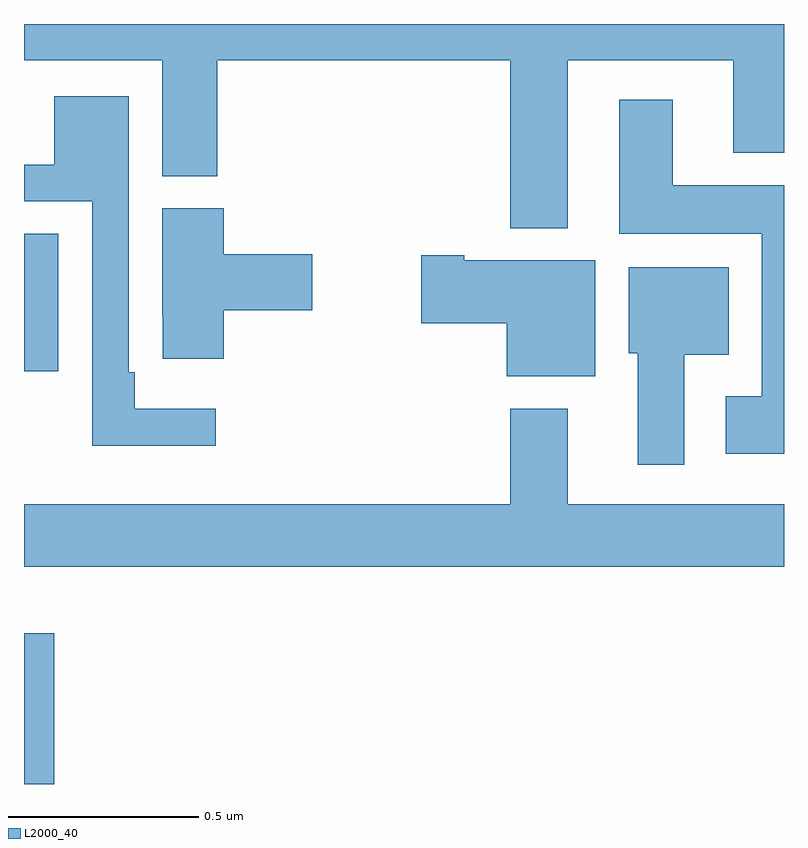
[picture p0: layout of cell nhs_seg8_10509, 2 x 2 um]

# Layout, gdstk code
import gdstk
lib = gdstk.Library(unit=1e-6, precision=1e-09)
def R(c, l, rs):  # rectangles x0, y0, x1, y1
    for r in rs: c.add(gdstk.rectangle(r[:2], r[2:], *l))
def P(c, l, *ps):  # polygons
    for p in ps: c.add(gdstk.Polygon(p, *l))
L2000_40 = (2000, 40)

nhs_seg8_10509 = lib.new_cell('nhs_seg8_10509')
R(nhs_seg8_10509, L2000_40, [(250,1143.9,250.079,1144.297), (250,1144.986,250.09,1145.348)])
P(nhs_seg8_10509, L2000_40, [(251.431,1145.804),(251.867,1145.804),(251.867,1145.561),(252,1145.561),(252,1145.9),(250,1145.9),(250,1145.804),(250.364,1145.804),(250.364,1145.5),(250.508,1145.5),(250.508,1145.804),(251.279,1145.804),(251.279,1145.363),(251.431,1145.363)],
  [(250.504,1144.888),(250.291,1144.888),(250.291,1144.984),(250.275,1144.984),(250.275,1145.71),(250.079,1145.71),(250.079,1145.529),(250,1145.529),(250,1145.433),(250.179,1145.433),(250.179,1144.79),(250.504,1144.79)],
  [(252,1145.476),(251.707,1145.476),(251.707,1145.701),(251.567,1145.701),(251.567,1145.348),(251.942,1145.348),(251.942,1144.921),(251.847,1144.921),(251.847,1144.769),(252,1144.769)],
  [(250.526,1145.147),(250.759,1145.147),(250.759,1145.294),(250.526,1145.294),(250.526,1145.415),(250.364,1145.415),(250.364,1145.131),(250.365,1145.131),(250.365,1145.019),(250.526,1145.019)],
  [(251.503,1145.278),(251.158,1145.278),(251.158,1145.291),(251.046,1145.291),(251.046,1145.113),(251.27,1145.113),(251.27,1144.973),(251.503,1144.973)],
  [(251.737,1145.03),(251.854,1145.03),(251.854,1145.26),(251.591,1145.26),(251.591,1145.034),(251.615,1145.034),(251.615,1144.74),(251.737,1144.74)],
  [(252,1144.636),(251.431,1144.636),(251.431,1144.888),(251.279,1144.888),(251.279,1144.636),(250,1144.636),(250,1144.472),(252,1144.472)])

lib.write_gds('nhs_seg8_10509.gds')
